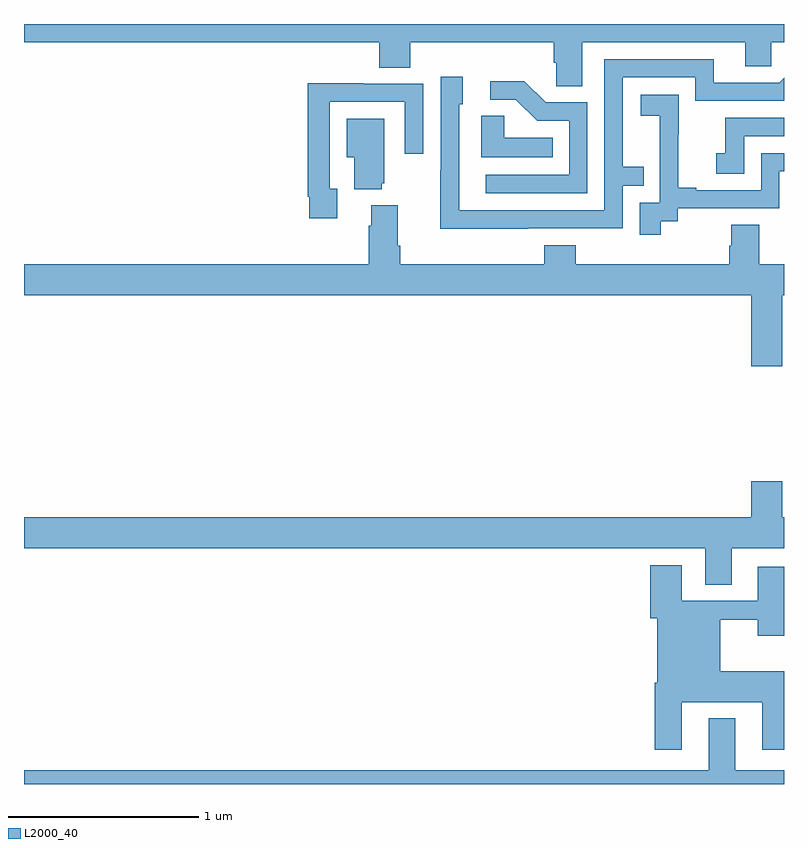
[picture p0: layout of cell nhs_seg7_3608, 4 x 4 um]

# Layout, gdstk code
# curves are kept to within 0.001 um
import gdstk
lib = gdstk.Library(unit=1e-6, precision=1e-09)
def P(c, l, *ps):  # polygons
    for p in ps: c.add(gdstk.Polygon(p, *l))
L2000_40 = (2000, 40)

nhs_seg7_3608 = lib.new_cell('nhs_seg7_3608')
P(nhs_seg7_3608, L2000_40, [(343.939,1045.904),(344.795,1045.904),(344.795,1045.777),(344.934,1045.777),(344.934,1045.904),(345,1045.904),(345,1046),(341,1046),(341,1045.904),(342.869,1045.904),(342.869,1045.771),(343.034,1045.771),(343.034,1045.904),(343.787,1045.904),(343.787,1045.795),(343.8,1045.795),(343.8,1045.672),(343.939,1045.672)],
  [(343.655,1044.924),(344.151,1044.924),(344.151,1045.149),(344.261,1045.149),(344.261,1045.25),(344.151,1045.25),(344.151,1045.719),(344.532,1045.719),(344.532,1045.596),(345,1045.596),(345,1045.716),(344.976,1045.692),(344.629,1045.692),(344.629,1045.815),(344.055,1045.815),(344.055,1045.02),(343.29,1045.02),(343.29,1045.578),(343.309,1045.578),(343.309,1045.723),(343.194,1045.723),(343.194,1045.229),(343.192,1045.229),(343.192,1044.923)],
  [(343.965,1045.587),(343.746,1045.587),(343.633,1045.7),(343.455,1045.7),(343.455,1045.602),(343.589,1045.602),(343.7,1045.491),(343.869,1045.491),(343.869,1045.206),(343.431,1045.206),(343.431,1045.11),(343.965,1045.11)],
  [(342.649,1045.134),(342.609,1045.134),(342.609,1045.59),(343.005,1045.59),(343.005,1045.317),(343.101,1045.317),(343.101,1045.686),(342.785,1045.686),(342.785,1045.688),(342.493,1045.688),(342.493,1045.09),(342.501,1045.09),(342.501,1044.978),(342.649,1044.978)],
  [(344.35,1044.961),(344.442,1044.961),(344.442,1045.029),(344.976,1045.029),(344.976,1045.224),(345,1045.224),(345,1045.32),(344.88,1045.32),(344.88,1045.125),(344.539,1045.125),(344.539,1045.138),(344.444,1045.138),(344.444,1045.421),(344.445,1045.421),(344.445,1045.627),(344.247,1045.627),(344.247,1045.517),(344.345,1045.517),(344.345,1045.289),(344.346,1045.289),(344.346,1045.059),(344.241,1045.059),(344.241,1044.891),(344.35,1044.891)],
  [(343.784,1045.402),(343.527,1045.402),(343.527,1045.517),(343.406,1045.517),(343.406,1045.298),(343.784,1045.298)],
  [(344.79,1045.41),(345,1045.41),(345,1045.506),(344.692,1045.506),(344.692,1045.321),(344.643,1045.321),(344.643,1045.212),(344.79,1045.212)],
  [(342.884,1045.161),(342.895,1045.161),(342.895,1045.501),(342.698,1045.501),(342.698,1045.298),(342.737,1045.298),(342.737,1045.13),(342.884,1045.13)],
  [(344.992,1044.572),(345,1044.572),(345,1044.736),(344.871,1044.736),(344.871,1044.944),(344.723,1044.944),(344.723,1044.834),(344.711,1044.834),(344.711,1044.736),(343.904,1044.736),(343.904,1044.835),(343.739,1044.835),(343.739,1044.736),(342.98,1044.736),(342.98,1044.832),(342.967,1044.832),(342.967,1045.045),(342.827,1045.045),(342.827,1044.938),(342.815,1044.938),(342.815,1044.736),(341,1044.736),(341,1044.572),(344.828,1044.572),(344.828,1044.198),(344.992,1044.198)],
  [(344.725,1043.24),(345,1043.24),(345,1043.404),(344.992,1043.404),(344.992,1043.593),(344.828,1043.593),(344.828,1043.404),(341,1043.404),(341,1043.24),(344.585,1043.24),(344.585,1043.05),(344.725,1043.05)],
  [(344.461,1042.43),(344.885,1042.43),(344.885,1042.179),(345,1042.179),(345,1042.594),(344.665,1042.594),(344.665,1042.864),(344.861,1042.864),(344.861,1042.781),(345,1042.781),(345,1043.143),(344.861,1043.143),(344.861,1042.965),(344.461,1042.965),(344.461,1043.152),(344.297,1043.152),(344.297,1042.872),(344.333,1042.872),(344.333,1042.534),(344.321,1042.534),(344.321,1042.179),(344.461,1042.179)],
  [(341,1042),(345,1042),(345,1042.072),(344.743,1042.072),(344.743,1042.345),(344.603,1042.345),(344.603,1042.072),(341,1042.072)])

lib.write_gds('nhs_seg7_3608.gds')
